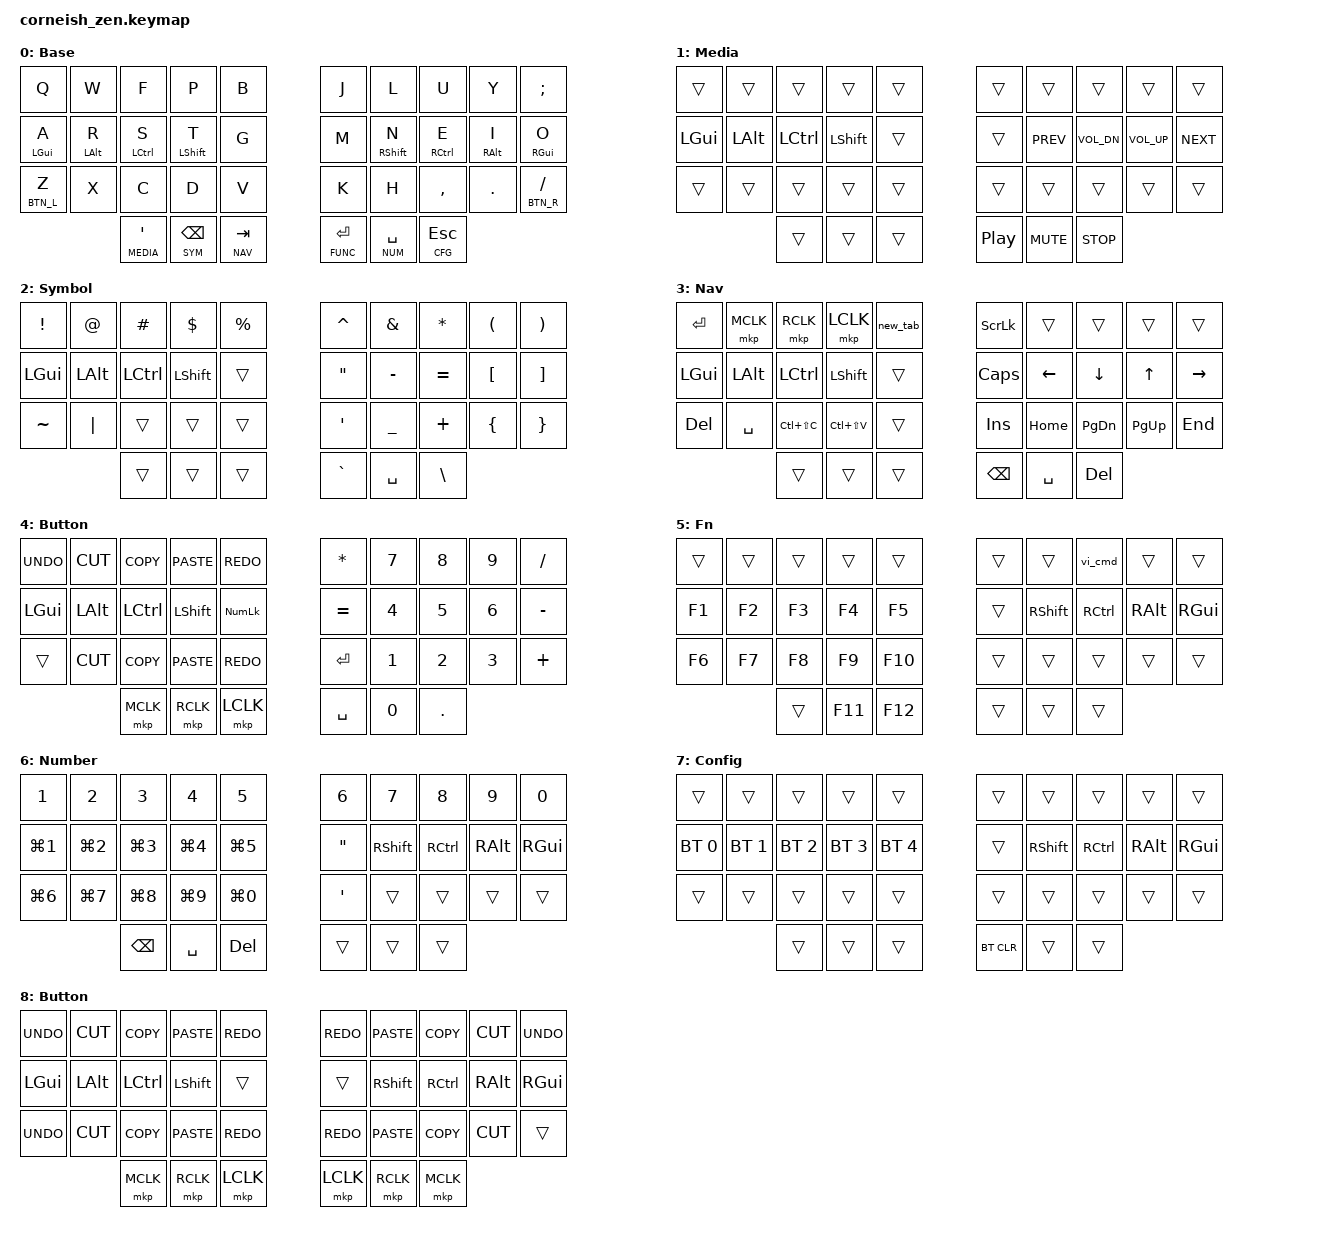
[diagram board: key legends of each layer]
/*
*
* Copyright (c) 2021 Darryl deHaan
* SPDX-License-Identifier: MIT
*
*/

#include <behaviors.dtsi>
#include <dt-bindings/zmk/keys.h>
#include <dt-bindings/zmk/bt.h>
#include <dt-bindings/zmk/mouse.h>

/ {
	chosen {
    	zmk,matrix_transform = &five_column_transform;
	};
};

#define MEDIA 1
#define SYM   2
#define NAV   3
#define BTN_L 4
#define FUNC  5
#define NUM   6
#define CFG   7
#define BTN_R 8

&lt {
	tapping-term-ms = <135>;
};

// &mwh {
// 	acceleration-exponent=<1>;
// };

/ {
	behaviors {
		bhm: balanced_homerow_mods {
			compatible = "zmk,behavior-hold-tap";
			label = "HOMEROW_MODS";
			#binding-cells = <2>;
			tapping-term-ms = <180>;
			quick-tap-ms = <0>;
			flavor = "balanced";
			bindings = <&kp>, <&kp>;
		};
	};

	macros {
		new_tab: new_tab {
			compatible = "zmk,behavior-macro";
			label = "open_link_in_new_tab";
			#binding-cells = <0>;
			bindings
				= <&macro_press &kp LCTRL &kp LSHIFT>
				, <&macro_wait_time 50>
				, <&macro_tap &mkp LCLK>
				, <&macro_release &kp LSHIFT &kp LCTRL>;
		};
		vi_cmd: vi_cmd {
			compatible = "zmk,behavior-macro";
			label = "vi_esc_to_cmd";
			#binding-cells = <0>;
			bindings
				= <&kp ESC &kp COLON>;
		};
	};

	keymap {
		compatible = "zmk,keymap";

		// # ------------------------------------------------------------------
		// # |  Q  |  W  |  F  |  P  |  B  |---|  J  |  L  |  U  |  Y  |  ;  |
		// # |  A  |  R  |  S  |  T  |  G  |---|  M  |  N  |  E  |  I  |  O  |
		// # |  Z  |  X  |  C  |  D  |  V  |---|  K  |  H  |  ,  |  .  |  /  |
		// #             |  '  | Bksp| Tab |---| Ent | Spc | Esc |
		default_layer {
			label = "Base";
			bindings = <
				&kp Q       &kp W       &kp F         &kp P         &kp B         &kp J        &kp L         &kp U        &kp Y       &kp SEMI
				&bhm LGUI A &bhm LALT R &bhm LCTRL S  &bhm LSHIFT T &kp G         &kp M        &bhm RSHIFT N &bhm RCTRL E &bhm RALT I &bhm RGUI O
				&lt BTN_L Z &kp X       &kp C         &kp D         &kp V         &kp K        &kp H         &kp COMMA    &kp DOT     &lt BTN_R FSLH
            					        &lt MEDIA SQT &lt SYM BSPC  &lt NAV TAB   &lt FUNC RET &lt NUM SPACE &lt CFG ESC
            >;
    	};

		// # -----------------------------------------------------------------
		// # |     |     |     |     |     |---|     |     |     |     |     |
		// # |LGui |LAlt |LCtrl|LShft|     |---|     | Prev|VolDn|VolUp| Next|
		// # |     |     |     |     |     |---|     |     |     |     |     |
		// #             |xxxxx|     |     |---| Play| Mute| Stop|
		media_layer {
			label = "Media";
			bindings = <
				&trans   &trans   &trans    &trans     &trans   &trans     &trans     &trans       &trans       &trans
				&kp LGUI &kp LALT &kp LCTRL &kp LSHIFT &trans   &trans     &kp C_PREV &kp C_VOL_DN &kp C_VOL_UP &kp C_NEXT
				&trans   &trans   &trans    &trans     &trans   &trans     &trans     &trans       &trans       &trans
                    	          &trans    &trans     &trans   &kp C_PP &kp C_MUTE   &kp C_STOP
            >;
        };

		// # -----------------------------------------------------------------
		// # |  !  |  @  |  #  |  $  |  %  |---|  ^  |  &  |  *  |  (  |  )  |
		// # |LGui |LAlt |LCtrl|LShft|     |---|  "  |  -  |  =  |  [  |  ]  |
		// # |  ~  |  |  |     |     |     |---|  '  |  _  |  +  |  {  |  }  |
		// #             |     |xxxxx|     |---|  `  | Spc |  \  |
		symbol_layer {
			label = "Symbol";
			bindings = <
				&kp EXCL  &kp AT   &kp POUND &kp DLLR   &kp PRCNT   &kp CARET &kp AMPS  &kp ASTRK &kp LPAR  &kp RPAR
				&kp LGUI  &kp LALT &kp LCTRL &kp LSHIFT &trans      &kp DQT   &kp MINUS &kp EQUAL &kp LBKT  &kp RBKT
				&kp TILDE &kp PIPE &trans    &trans     &trans      &kp SQT   &kp UNDER &kp PLUS  &kp LBRC  &kp RBRC
                    	     &trans    &trans     &trans      &kp GRAVE &kp SPACE &kp BSLH
            >;
        };

		// # -----------------------------------------------------------------
		// # | Ent |MseM |MseR |MseL |NewTb|---|Scrlk| MScL| MScD| MScU| MScR|
		// # |LGui |LAlt |LCtrl|LShft| MScU|---| Caps| Lft | Dwn |  Up | Rgt |
		// # | Del | Spc |CtShC|CtShV| MScD|---|Insrt| Home| PgDn| PgUp| End |
		// #             |     |     |xxxxx|---| Bksp| Spc | Del |
		// Holding this here when mouse emulation is merged: https://github.com/zmkfirmware/zmk/pull/778
		//		&mwh SCROLL_DOWN &mkp MCLK &mkp RCLK     &mkp LCLK     &mwh SCROLL_UP   &kp SLCK &mwh SCROLL_LEFT &mwh SCROLL_DOWN &mwh SCROLL_UP &mwh SCROLL_RIGHT
		// Don't forget to add back &new_tab where NewTb
		nav_layer {
			label = "Nav";
			bindings = <
				&kp RET  &mkp MCLK &mkp RCLK     &mkp LCLK     &new_tab      &kp SLCK     &trans           &trans           &trans         &trans
				&kp LGUI &kp LALT  &kp LCTRL     &kp LSHIFT    &trans        &kp CAPS     &kp LEFT         &kp DOWN         &kp UP         &kp RIGHT
				&kp DEL  &kp SPACE &kp LC(LS(C)) &kp LC(LS(V)) &trans        &kp INS      &kp HOME         &kp PG_DN        &kp PG_UP      &kp END
                    	                   &trans        &trans        &trans       &kp BSPC         &kp SPACE        &kp DEL
            >;
        };

		// # -----------------------------------------------------------------
		// # |Undo | Cut |Copy |Paste|Redo |---|  *  |  7  |  8  |  9  |  /  |
		// # |LGui |RAlt |LCtrl|LShft|NumLk|---|  =  |  4  |  5  |  6  |  -  |
		// # |xxxxx| Cut |Copy |Paste|Redo |---| Ent |  1  |  2  |  3  |  +  |
		// #             |MseM |MseR |MseL |---| Spc |  0  |  .  |
		button_left_layer {
			label = "Button";
			bindings = <
				&kp K_UNDO &kp K_CUT &kp K_COPY &kp K_PASTE &kp K_REDO   &kp ASTRK &kp N7 &kp N8 &kp N9 &kp FSLH
				&kp LGUI   &kp LALT  &kp LCTRL  &kp LSHIFT  &kp KP_NUM   &kp EQUAL &kp N4 &kp N5 &kp N6 &kp MINUS
				&trans     &kp K_CUT &kp K_COPY &kp K_PASTE &kp K_REDO   &kp RET   &kp N1 &kp N2 &kp N3 &kp PLUS
									           &mkp MCLK  &mkp RCLK   &mkp LCLK    &kp SPACE &kp N0 &kp DOT
			>;
		};

		// # -----------------------------------------------------------------
		// # |     |     |     |     |     |---|     |     |ViCmd|     |     |
		// # | F1  | F2  | F3  | F4  | F5  |---|     |RShft|RCtrl| RAlt| RGui|
		// # | F6  | F7  | F8  | F9  | F10 |---|     |     |     |     |     |
		// #             |     | F11 | F12 |---|xxxxx|     |     |
		function_layer {
			label = "Fn";
			bindings = <
				&trans &trans &trans &trans  &trans    &trans &trans     &vi_cmd   &trans   &trans
				&kp F1 &kp F2 &kp F3 &kp F4  &kp F5    &trans &kp RSHIFT &kp RCTRL &kp RALT &kp RGUI
				&kp F6 &kp F7 &kp F8 &kp F9  &kp F10   &trans &trans     &trans    &trans   &trans
						      &trans &kp F11 &kp F12   &trans &trans     &trans
			>;
		};

		// # -----------------------------------------------------------------
		// # |  1  |  2  |  3  |  4  |  5  |---|  6  |  7  |  8  |  9  |  0  |
		// # |Meta1|Meta2|Meta3|Meta4|Meta5|---|  "  |RShft|RCtrl| RAlt| RGui|
		// # |Meta6|Meta7|Meta8|Meta9|Meta0|---|  '  |     |     |     |     |
		// #             | Bksp| Spc | Del |---|     |xxxxx|     |
		number_layer {
			label = "Number";
			bindings = <
				&kp N1     &kp N2     &kp N3     &kp N4     &kp N5       &kp N6  &kp N7     &kp N8    &kp N9   &kp N0
				&kp LG(N1) &kp LG(N2) &kp LG(N3) &kp LG(N4) &kp LG(N5)   &kp DQT &kp RSHIFT &kp RCTRL &kp RALT &kp RGUI
				&kp LG(N6) &kp LG(N7) &kp LG(N8) &kp LG(N9) &kp LG(N0)   &kp SQT &trans     &trans    &trans   &trans
								      &kp BSPC   &kp SPACE  &kp DEL      &trans  &trans     &trans
			>;
		};

		// # -----------------------------------------------------------------
		// # |     |     |     |     |     |---|     |     |     |     |     |
		// # | BT0 | BT1 | BT2 | BT3 | BT4 |---|     |RShft|RCtrl| RAlt| RGui|
		// # |     |     |     |     |     |---|     |     |     |     |     |
		// #             |     |     |     |---|BTClr|     |xxxxx|
		config_layer {
			label = "Config";
			bindings = <
				&trans       &trans       &trans       &trans       &trans         &trans     &trans     &trans    &trans   &trans
				&bt BT_SEL 0 &bt BT_SEL 1 &bt BT_SEL 2 &bt BT_SEL 3 &bt BT_SEL 4   &trans     &kp RSHIFT &kp RCTRL &kp RALT &kp RGUI
				&trans       &trans       &trans       &trans       &trans         &trans     &trans     &trans    &trans   &trans
								          &trans       &trans       &trans         &bt BT_CLR &trans     &trans
			>;
		};

		// # -----------------------------------------------------------------
		// # |Undo | Cut |Copy |Paste|Redo |---| Redo|Paste| Copy| Cut | Undo|
		// # |LGui |RAlt |LCtrl|LShft|     |---|     |RShft|RCtrl| RAlt| RGui|
		// # |Undo | Cut |Copy |Paste|Redo |---| Redo|Paste| Copy| Cut |xxxxx|
		// #             |MseM |MseR |MseL |---| MseL| MseR| MseM|
		button_right_layer {
			label = "Button";
			bindings = <
				&kp K_UNDO &kp K_CUT &kp K_COPY &kp K_PASTE &kp K_REDO   &kp K_REDO &kp K_PASTE &kp K_COPY &kp K_CUT &kp K_UNDO
				&kp LGUI   &kp LALT  &kp LCTRL  &kp LSHIFT  &trans       &trans     &kp RSHIFT  &kp RCTRL  &kp RALT  &kp RGUI
				&kp K_UNDO &kp K_CUT &kp K_COPY &kp K_PASTE &kp K_REDO   &kp K_REDO &kp K_PASTE &kp K_COPY &kp K_CUT &trans
								             &mkp MCLK  &mkp RCLK   &mkp LCLK    &mkp LCLK  &mkp RCLK   &mkp MCLK
			>;
		};
	};
};
